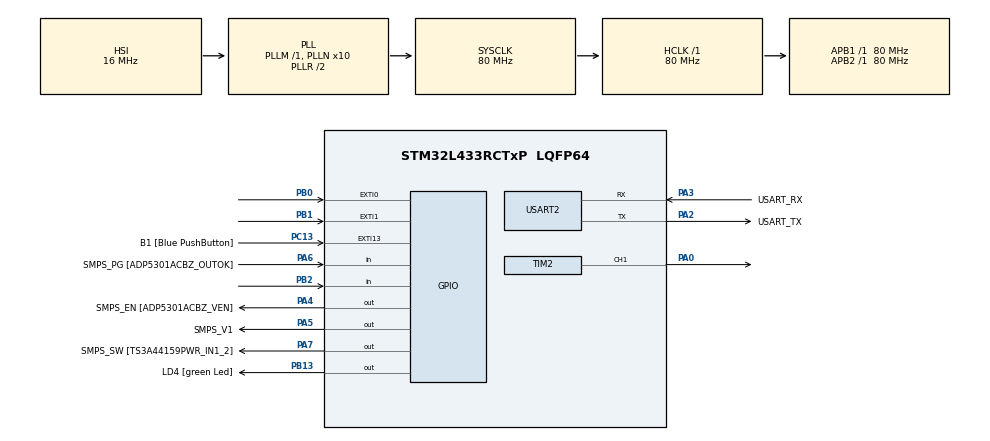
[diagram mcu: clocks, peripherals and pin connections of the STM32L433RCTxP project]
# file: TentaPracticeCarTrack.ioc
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Mcu.Family=STM32L4
Mcu.Name=STM32L433RCTxP
Mcu.Package=LQFP64
NVIC.PriorityGroup=NVIC_PRIORITYGROUP_4
PA0.Signal=S_TIM2_CH1
PA13\ (JTMS-SWDIO).GPIO_Label=TMS
PA13\ (JTMS-SWDIO).Mode=Serial_Wire
PA13\ (JTMS-SWDIO).Signal=SYS_JTMS-SWDIO
PA14\ (JTCK-SWCLK).GPIO_Label=TCK
PA14\ (JTCK-SWCLK).Mode=Serial_Wire
PA14\ (JTCK-SWCLK).Signal=SYS_JTCK-SWCLK
PA2.GPIO_Label=USART_TX
PA2.GPIO_Mode=GPIO_MODE_AF_PP
PA2.GPIO_PuPd=GPIO_NOPULL
PA2.GPIO_Speed=GPIO_SPEED_FREQ_VERY_HIGH
PA2.Mode=Asynchronous
PA2.Signal=USART2_TX
PA3.GPIO_Label=USART_RX
PA3.GPIO_Mode=GPIO_MODE_AF_PP
PA3.GPIO_PuPd=GPIO_NOPULL
PA3.GPIO_Speed=GPIO_SPEED_FREQ_VERY_HIGH
PA3.Mode=Asynchronous
PA3.Signal=USART2_RX
PA4.GPIO_Label=SMPS_EN [ADP5301ACBZ_VEN]
PA4.Signal=GPIO_Output
PA5.GPIO_Label=SMPS_V1
PA5.GPIO_ModeDefaultOutputPP=GPIO_MODE_OUTPUT_PP
PA5.GPIO_PuPd=GPIO_NOPULL
PA5.GPIO_Speed=GPIO_SPEED_FREQ_LOW
PA5.Signal=GPIO_Output
PA6.GPIO_Label=SMPS_PG [ADP5301ACBZ_OUTOK]
PA6.GPIO_PuPd=GPIO_PULLUP
PA6.Signal=GPIO_Input
PA7.GPIO_Label=SMPS_SW [TS3A44159PWR_IN1_2]
PA7.Signal=GPIO_Output
PB0.GPIO_ModeDefaultEXTI=GPIO_MODE_IT_FALLING
PB0.GPIO_PuPd=GPIO_PULLUP
PB0.Signal=GPXTI0
PB1.GPIO_ModeDefaultEXTI=GPIO_MODE_IT_FALLING
PB1.GPIO_PuPd=GPIO_PULLUP
PB1.Signal=GPXTI1
PB13.GPIO_Label=LD4 [green Led]
PB13.Signal=GPIO_Output
PB2.Signal=GPIO_Input
PB3\ (JTDO-TRACESWO).GPIO_Label=SWO
PB3\ (JTDO-TRACESWO).Signal=SYS_JTDO-SWO
PC13.GPIO_Label=B1 [Blue PushButton]
PC13.GPIO_ModeDefaultEXTI=GPIO_MODE_IT_FALLING
PC13.GPIO_PuPd=GPIO_NOPULL
PC13.Signal=GPXTI13
PC14-OSC32_IN\ (PC14).Mode=LSE-External-Oscillator
PC14-OSC32_IN\ (PC14).Signal=RCC_OSC32_IN
PC15-OSC32_OUT\ (PC15).Mode=LSE-External-Oscillator
PC15-OSC32_OUT\ (PC15).Signal=RCC_OSC32_OUT
PH0-OSC_IN\ (PH0).GPIO_Label=MCO
PH0-OSC_IN\ (PH0).Mode=HSE-External-Clock-Source
PH0-OSC_IN\ (PH0).Signal=RCC_OSC_IN
PH1-OSC_OUT\ (PH1).Signal=RCC_OSC_OUT
ProjectManager.HeapSize=0x200
ProjectManager.StackSize=0x400
ProjectManager.TargetToolchain=STM32CubeIDE
RCC.ADCFreq_Value=64000000
RCC.AHBFreq_Value=80000000
RCC.APB1Freq_Value=80000000
RCC.APB1TimFreq_Value=80000000
RCC.APB2Freq_Value=80000000
RCC.APB2TimFreq_Value=80000000
RCC.CortexFreq_Value=80000000
RCC.HCLKFreq_Value=80000000
RCC.HSE_VALUE=8000000
RCC.HSI48_VALUE=48000000
RCC.HSI_VALUE=16000000
RCC.MSI_VALUE=4000000
RCC.PLLN=10
RCC.PLLSourceVirtual=RCC_PLLSOURCE_HSI
RCC.PREFETCH_ENABLE=1
RCC.SYSCLKFreq_VALUE=80000000
RCC.SYSCLKSource=RCC_SYSCLKSOURCE_PLLCLK
RCC.USBFreq_Value=64000000
RCC.VCOOutputFreq_Value=160000000
SH.S_TIM2_CH1.0=TIM2_CH1,PWM Generation1 CH1
TIM2.Channel-PWM\ Generation1\ CH1=TIM_CHANNEL_1
USART2.VirtualMode-Asynchronous=VM_ASYNC
VP_TIM2_VS_ClockSourceINT.Mode=Internal
board=NUCLEO-L433RC-P

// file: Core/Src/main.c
/* USER CODE BEGIN Header */
/**
  ******************************************************************************
  * @file           : main.c
  * @brief          : Main program body
  ******************************************************************************
  * @attention
  *
  * Copyright (c) 2025 STMicroelectronics.
  * All rights reserved.
  *
  * This software is licensed under terms that can be found in the LICENSE file
  * in the root directory of this software component.
  * If no LICENSE file comes with this software, it is provided AS-IS.
  *
  ******************************************************************************
  */
/* USER CODE END Header */
#include "main.h"

TIM_HandleTypeDef htim2;

UART_HandleTypeDef huart2;

void SystemClock_Config(void);
static void MX_GPIO_Init(void);
static void MX_USART2_UART_Init(void);
static void MX_TIM2_Init(void);

/* USER CODE BEGIN 0 */

float Read_temp(uint16_t ADCtemp){

	return (ADCtemp * 0.0806f);

}

void Pump_on(){
	GPIOA->BSRR = GPIO_PIN_4;
}

void Pump_off(){
	GPIOA->BRR = GPIO_PIN_4;
}

void Heater_on(float duty){
	__HAL_TIM_SET_COMPARE(&htim2,TIM_CHANNEL_1,duty*1000);

}

void Control_temp(){

	float current_temp = Read_temp;

	while(wished_temp - current_temp){

	}
}
/* USER CODE END 0 */

int main(void)
{

  /* MCU Configuration--------------------------------------------------------*/

  /* Reset of all peripherals, Initializes the Flash interface and the Systick. */
  HAL_Init();

  /* Configure the system clock */
  SystemClock_Config();

  /* Initialize all configured peripherals */
  MX_GPIO_Init();
  MX_USART2_UART_Init();
  MX_TIM2_Init();

  /* Infinite loop */
  /* USER CODE BEGIN WHILE */
  while (1)
  {
	  HAL_Delay(100);
	  int16_t time = HAL_GetTick();
	  HAL_GPIO_WritePin(GPIOB, GPIO_PIN_5, GPIO_PIN_SET);
	  int16_t check = HAL_GPIO_ReadPin(GPIOC,GPIO_PIN_4);
	  if(check && time){
		  HAL_GPIO_TogglePin(GPIOB, GPIO_PIN_5);
	  }

    /* USER CODE END WHILE */

  }
}

void SystemClock_Config(void)
{
  RCC_OscInitTypeDef RCC_OscInitStruct = {0};
  RCC_ClkInitTypeDef RCC_ClkInitStruct = {0};

  /** Configure the main internal regulator output voltage
  */
  if (HAL_PWREx_ControlVoltageScaling(PWR_REGULATOR_VOLTAGE_SCALE1) != HAL_OK)
  {
    Error_Handler();
  }

  /** Initializes the RCC Oscillators according to the specified parameters
  * in the RCC_OscInitTypeDef structure.
  */
  RCC_OscInitStruct.OscillatorType = RCC_OSCILLATORTYPE_HSI;
  RCC_OscInitStruct.HSIState = RCC_HSI_ON;
  RCC_OscInitStruct.HSICalibrationValue = RCC_HSICALIBRATION_DEFAULT;
  RCC_OscInitStruct.PLL.PLLState = RCC_PLL_ON;
  RCC_OscInitStruct.PLL.PLLSource = RCC_PLLSOURCE_HSI;
  RCC_OscInitStruct.PLL.PLLM = 1;
  RCC_OscInitStruct.PLL.PLLN = 10;
  RCC_OscInitStruct.PLL.PLLP = RCC_PLLP_DIV7;
  RCC_OscInitStruct.PLL.PLLQ = RCC_PLLQ_DIV2;
  RCC_OscInitStruct.PLL.PLLR = RCC_PLLR_DIV2;
  if (HAL_RCC_OscConfig(&RCC_OscInitStruct) != HAL_OK)
  {
    Error_Handler();
  }

  /** Initializes the CPU, AHB and APB buses clocks
  */
  RCC_ClkInitStruct.ClockType = RCC_CLOCKTYPE_HCLK|RCC_CLOCKTYPE_SYSCLK
                              |RCC_CLOCKTYPE_PCLK1|RCC_CLOCKTYPE_PCLK2;
  RCC_ClkInitStruct.SYSCLKSource = RCC_SYSCLKSOURCE_PLLCLK;
  RCC_ClkInitStruct.AHBCLKDivider = RCC_SYSCLK_DIV1;
  RCC_ClkInitStruct.APB1CLKDivider = RCC_HCLK_DIV1;
  RCC_ClkInitStruct.APB2CLKDivider = RCC_HCLK_DIV1;

  if (HAL_RCC_ClockConfig(&RCC_ClkInitStruct, FLASH_LATENCY_4) != HAL_OK)
  {
    Error_Handler();
  }
}

static void MX_TIM2_Init(void)
{

  TIM_ClockConfigTypeDef sClockSourceConfig = {0};
  TIM_MasterConfigTypeDef sMasterConfig = {0};
  TIM_OC_InitTypeDef sConfigOC = {0};

  htim2.Instance = TIM2;
  htim2.Init.Prescaler = 0;
  htim2.Init.CounterMode = TIM_COUNTERMODE_UP;
  htim2.Init.Period = 4294967295;
  htim2.Init.ClockDivision = TIM_CLOCKDIVISION_DIV1;
  htim2.Init.AutoReloadPreload = TIM_AUTORELOAD_PRELOAD_DISABLE;
  if (HAL_TIM_Base_Init(&htim2) != HAL_OK)
  {
    Error_Handler();
  }
  sClockSourceConfig.ClockSource = TIM_CLOCKSOURCE_INTERNAL;
  if (HAL_TIM_ConfigClockSource(&htim2, &sClockSourceConfig) != HAL_OK)
  {
    Error_Handler();
  }
  if (HAL_TIM_PWM_Init(&htim2) != HAL_OK)
  {
    Error_Handler();
  }
  sMasterConfig.MasterOutputTrigger = TIM_TRGO_RESET;
  sMasterConfig.MasterSlaveMode = TIM_MASTERSLAVEMODE_DISABLE;
  if (HAL_TIMEx_MasterConfigSynchronization(&htim2, &sMasterConfig) != HAL_OK)
  {
    Error_Handler();
  }
  sConfigOC.OCMode = TIM_OCMODE_PWM1;
  sConfigOC.Pulse = 0;
  sConfigOC.OCPolarity = TIM_OCPOLARITY_HIGH;
  sConfigOC.OCFastMode = TIM_OCFAST_DISABLE;
  if (HAL_TIM_PWM_ConfigChannel(&htim2, &sConfigOC, TIM_CHANNEL_1) != HAL_OK)
  {
    Error_Handler();
  }
  HAL_TIM_MspPostInit(&htim2);

}

static void MX_USART2_UART_Init(void)
{

  huart2.Instance = USART2;
  huart2.Init.BaudRate = 115200;
  huart2.Init.WordLength = UART_WORDLENGTH_8B;
  huart2.Init.StopBits = UART_STOPBITS_1;
  huart2.Init.Parity = UART_PARITY_NONE;
  huart2.Init.Mode = UART_MODE_TX_RX;
  huart2.Init.HwFlowCtl = UART_HWCONTROL_NONE;
  huart2.Init.OverSampling = UART_OVERSAMPLING_16;
  huart2.Init.OneBitSampling = UART_ONE_BIT_SAMPLE_DISABLE;
  huart2.AdvancedInit.AdvFeatureInit = UART_ADVFEATURE_NO_INIT;
  if (HAL_UART_Init(&huart2) != HAL_OK)
  {
    Error_Handler();
  }

}

static void MX_GPIO_Init(void)
{
  GPIO_InitTypeDef GPIO_InitStruct = {0};

  /* GPIO Ports Clock Enable */
  __HAL_RCC_GPIOC_CLK_ENABLE();
  __HAL_RCC_GPIOH_CLK_ENABLE();
  __HAL_RCC_GPIOA_CLK_ENABLE();
  __HAL_RCC_GPIOB_CLK_ENABLE();

  /*Configure GPIO pin Output Level */
  HAL_GPIO_WritePin(GPIOA, SMPS_EN_Pin|SMPS_V1_Pin|SMPS_SW_Pin, GPIO_PIN_RESET);

  /*Configure GPIO pin Output Level */
  HAL_GPIO_WritePin(LD4_GPIO_Port, LD4_Pin, GPIO_PIN_RESET);

  /*Configure GPIO pin : B1_Pin */
  GPIO_InitStruct.Pin = B1_Pin;
  GPIO_InitStruct.Mode = GPIO_MODE_IT_FALLING;
  GPIO_InitStruct.Pull = GPIO_NOPULL;
  HAL_GPIO_Init(B1_GPIO_Port, &GPIO_InitStruct);

  /*Configure GPIO pins : SMPS_EN_Pin SMPS_V1_Pin SMPS_SW_Pin */
  GPIO_InitStruct.Pin = SMPS_EN_Pin|SMPS_V1_Pin|SMPS_SW_Pin;
  GPIO_InitStruct.Mode = GPIO_MODE_OUTPUT_PP;
  GPIO_InitStruct.Pull = GPIO_NOPULL;
  GPIO_InitStruct.Speed = GPIO_SPEED_FREQ_LOW;
  HAL_GPIO_Init(GPIOA, &GPIO_InitStruct);

  /*Configure GPIO pin : SMPS_PG_Pin */
  GPIO_InitStruct.Pin = SMPS_PG_Pin;
  GPIO_InitStruct.Mode = GPIO_MODE_INPUT;
  GPIO_InitStruct.Pull = GPIO_PULLUP;
  HAL_GPIO_Init(SMPS_PG_GPIO_Port, &GPIO_InitStruct);

  /*Configure GPIO pins : PB0 PB1 */
  GPIO_InitStruct.Pin = GPIO_PIN_0|GPIO_PIN_1;
  GPIO_InitStruct.Mode = GPIO_MODE_IT_FALLING;
  GPIO_InitStruct.Pull = GPIO_PULLUP;
  HAL_GPIO_Init(GPIOB, &GPIO_InitStruct);

  /*Configure GPIO pin : PB2 */
  GPIO_InitStruct.Pin = GPIO_PIN_2;
  GPIO_InitStruct.Mode = GPIO_MODE_INPUT;
  GPIO_InitStruct.Pull = GPIO_NOPULL;
  HAL_GPIO_Init(GPIOB, &GPIO_InitStruct);

  /*Configure GPIO pin : LD4_Pin */
  GPIO_InitStruct.Pin = LD4_Pin;
  GPIO_InitStruct.Mode = GPIO_MODE_OUTPUT_PP;
  GPIO_InitStruct.Pull = GPIO_NOPULL;
  GPIO_InitStruct.Speed = GPIO_SPEED_FREQ_LOW;
  HAL_GPIO_Init(LD4_GPIO_Port, &GPIO_InitStruct);

}

void Error_Handler(void)
{
  __disable_irq();
  while (1)
  {
  }
}
